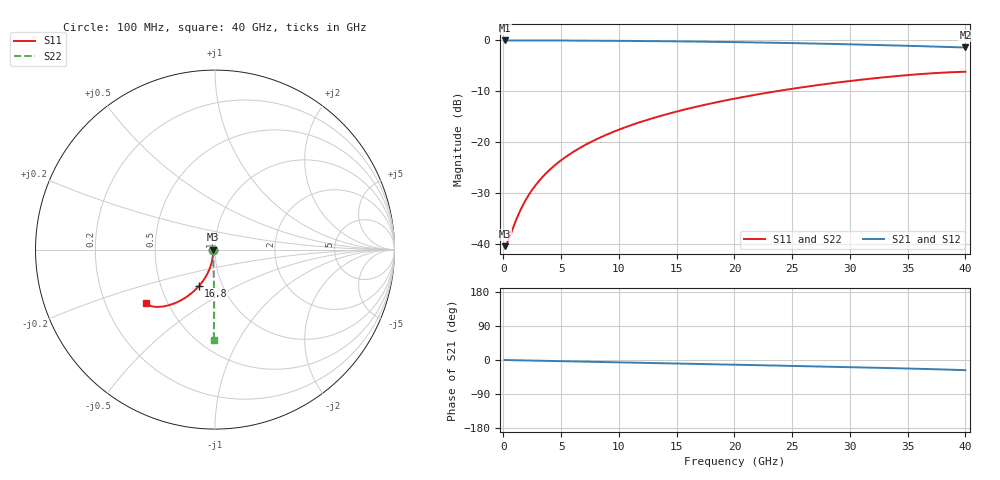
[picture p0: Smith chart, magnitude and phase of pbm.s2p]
! X_s8x4_L1L3_bd_d200: physics-based via model (prototype), ports at the via
# Hz S RI R 50
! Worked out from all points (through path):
!   400 points, 100 MHz to 40 GHz, reference 50 ohm
!   highest |S21| = -0.08 dB at 100 MHz (marker M1); lowest = -1.5 dB at 40 GHz (marker M2)
!   group delay of S21, straight-line fit = 1.81 ps
!   lowest |S11| = -40.4 dB at 100 MHz (marker M3), VSWR 1.02, Z = 49.1 - j0.127 ohm
!   |S11| at or under -10 dB: start of sweep to 23.73 GHz
!   |S22| runs from -40.4 to -6.0 dB; largest |S21 - S12| = 0
!   S11 on the Smith chart (normalised r, x): 100 MHz: 0.98, -0.00; 16.8 GHz: 0.77, -0.33; 40 GHz: 0.38, -0.30
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1e8  -0.00946 -0.00129  0.9905 -0.00105  0.9905 -0.00105  -0.00945 -0.00131
2e8  -0.00946 -0.00258  0.9905 -0.0021  0.9905 -0.0021  -0.00945 -0.00261
4e8  -0.0095 -0.00517  0.9905 -0.0042  0.9905 -0.0042  -0.00945 -0.00522
1.1e9  -0.00981 -0.0142  0.9904 -0.0115  0.9904 -0.0115  -0.00943 -0.0144
1.6e9  -0.0102 -0.0207  0.9902 -0.0168  0.9902 -0.0168  -0.0094 -0.0209
2.2e9  -0.0109 -0.0284  0.9899 -0.0231  0.9899 -0.0231  -0.00935 -0.0287
2.8e9  -0.0118 -0.0361  0.9894 -0.0294  0.9894 -0.0294  -0.00929 -0.0366
3.6e9  -0.0133 -0.0464  0.9887 -0.0377  0.9887 -0.0377  -0.00918 -0.047
4.5e9  -0.0154 -0.0579  0.9877 -0.0472  0.9877 -0.0472  -0.00904 -0.0588
5.6e9  -0.0187 -0.0719  0.9861 -0.0587  0.9861 -0.0587  -0.00882 -0.0733
6.8e9  -0.023 -0.087  0.984 -0.0712  0.984 -0.0712  -0.00853 -0.089
8.2e9  -0.0291 -0.1045  0.981 -0.0857  0.981 -0.0857  -0.00815 -0.1075
9.7e9  -0.0369 -0.1229  0.9771 -0.1012  0.9771 -0.1012  -0.0077 -0.1273
1.15e10  -0.048 -0.1445  0.9717 -0.1198  0.9717 -0.1198  -0.00711 -0.1512
1.34e10  -0.0615 -0.1667  0.9648 -0.1391  0.9648 -0.1391  -0.00647 -0.1765
1.68e10  -0.0906 -0.2041  0.9498 -0.1732  0.9498 -0.1732  -0.00539 -0.222
2.01e10  -0.1242 -0.2372  0.9319 -0.2053  0.9319 -0.2053  -0.00462 -0.2663
2.33e10  -0.1613 -0.2653  0.9113 -0.2354  0.9113 -0.2354  -0.0043 -0.3091
2.67e10  -0.2049 -0.29  0.8862 -0.2658  0.8862 -0.2658  -0.00452 -0.3539
3.34e10  -0.2988 -0.318  0.8275 -0.322  0.8275 -0.322  -0.00622 -0.4372
3.7e10  -0.3496 -0.3163  0.7905 -0.3523  0.7905 -0.3523  -0.0064 -0.4762
4e10  -0.3864 -0.2989  0.7541 -0.3817  0.7541 -0.3817  -0.00331 -0.5027
